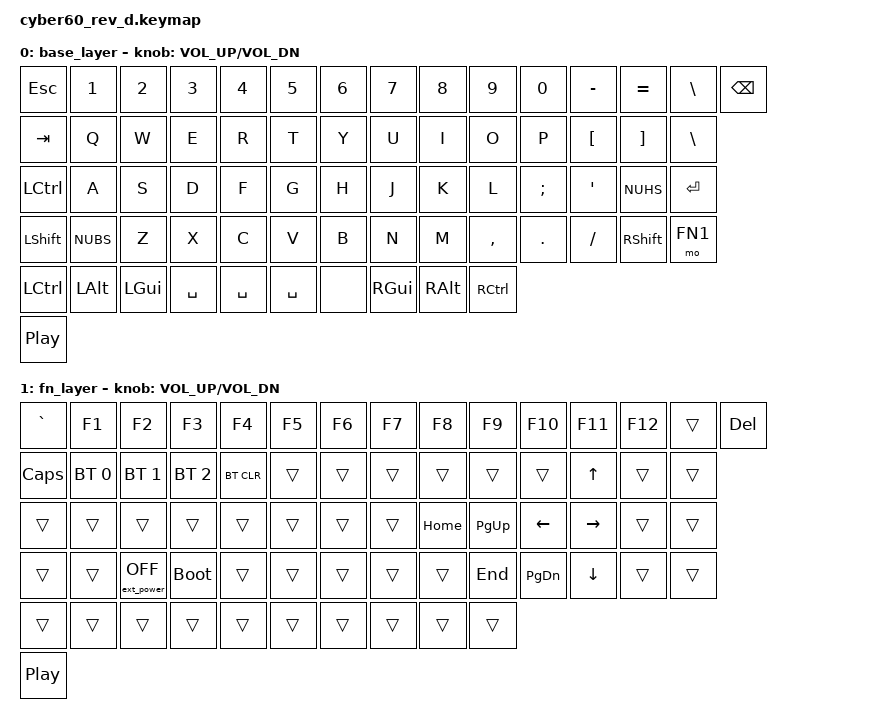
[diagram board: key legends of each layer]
#include <behaviors.dtsi>
#include <dt-bindings/zmk/bt.h>
#include <dt-bindings/zmk/ext_power.h>
#include <dt-bindings/zmk/keys.h>

#define FN1 1

/ {
    keymap {
        compatible = "zmk,keymap";

        base_layer {
            // Base layer
            // ------------------------------------------------------------------------------------------
            // | ESC |  1  |  2  |  3  |  4  |  5  |  6  |  7  |  8  |  9  |  0  |  -  |  =  |   BKSP   |
            // |  TAB |  Q  |  W  |  E  |  R  |  T  |  Y  |  U  |  I  |  O  |  P  |  [  |  ]  |   "|"   |
            // | CAPS  |  A  |  S  |  D  |  F  |  G  |  H  |  J  |  K  |  L  |  ;  |  '  |NUHS| ENTER   |
            // | SHIFT |NUBS| Z |  X  |  C  |  V  |  B  |  N  |  M  |  ,  |  .  |  /  |    Shift   | FN |
            // |  LCTL  |  LWIN  |  LALT  | SPACE  | SPACE |    SPACE   |  RALT | FN  |   RWIN  | RCTRL |
            // | Rotary | (<-- Rotary switch) ----------------------------------------------------------- 

            bindings = <
&kp ESC           &kp N1        &kp N2        &kp N3     &kp N4     &kp N5     &kp N6  &kp N7         &kp N8         &kp N9             &kp N0    &kp MINUS  &kp EQUAL  &kp BSLH  &kp BSPC
&kp TAB           &kp Q         &kp W         &kp E      &kp R      &kp T      &kp Y   &kp U          &kp I          &kp O              &kp P     &kp LBKT   &kp RBKT   &kp BSLH
&kp LEFT_CONTROL  &kp A         &kp S         &kp D      &kp F      &kp G      &kp H   &kp J          &kp K          &kp L              &kp SEMI  &kp SQT    &kp NUHS   &kp RET
&kp LSHFT         &kp NUBS      &kp Z         &kp X      &kp C      &kp V      &kp B   &kp N          &kp M          &kp COMMA          &kp DOT   &kp FSLH   &kp RSHFT  &mo FN1
&kp LEFT_CONTROL  &kp LEFT_ALT  &kp LEFT_GUI  &kp SPACE  &kp SPACE  &kp SPACE  &none   &kp RIGHT_GUI  &kp RIGHT_ALT  &kp RIGHT_CONTROL
&kp C_PP
            >;

            sensor-bindings = <&inc_dec_kp C_VOL_UP C_VOL_DN>;
        };

        fn_layer {
            // Function layer
            // ------------------------------------------------------------------------------------------
            // | RESET | F1 |  F2 |  F3 |  F4 |  F5 |  F6 |  F7 |  F8 |  F9 | F10 | F11 | F12 |TRNS | DEL |
            // |BT_CLR |TRNS | UP  | BT0 | BT1 | BT2 | BT3 | BT4 | TRNS | TRNS | TRNS | TRNS | TRNS | TRNS|
            // | BOOTL  |LEFT |DOWN |RIGHT|TRNS |TRNS |TRNS | TRNS| TRNS |TRNS| TRNS |TRNS | TRNS | TRNS  |
            // | TRNS |TRNS|TRNS|TRNS|TRNS | TRNS| TRNS | TRNS |  TRNS| TRNS | TRNS| TRNS |   TRNS   |TRNS|
            // |  TRNS | TRNS | TRNS |      TRNS      | TRNS |     TRNS     |  TRNS |  TRNS | TRNS | TRNS |
            // | Rotary | (<-- Rotary switch) ----------------------------------------------------------- 

            bindings = <
&kp GRAVE  &kp F1        &kp F2             &kp F3        &kp F4      &kp F5  &kp F6  &kp F7  &kp F8    &kp F9       &kp F10         &kp F11          &kp F12  &trans  &kp DEL
&kp CAPS   &bt BT_SEL 0  &bt BT_SEL 1       &bt BT_SEL 2  &bt BT_CLR  &trans  &trans  &trans  &trans    &trans       &trans          &kp UP_ARROW     &trans   &trans
&trans     &trans        &trans             &trans        &trans      &trans  &trans  &trans  &kp HOME  &kp PAGE_UP  &kp LEFT_ARROW  &kp RIGHT_ARROW  &trans   &trans
&trans     &trans        &ext_power EP_OFF  &bootloader   &trans      &trans  &trans  &trans  &trans    &kp END      &kp PAGE_DOWN   &kp DOWN_ARROW   &trans   &trans
&trans     &trans        &trans             &trans        &trans      &trans  &trans  &trans  &trans    &trans
&kp C_PP
            >;

            sensor-bindings = <&inc_dec_kp C_VOL_UP C_VOL_DN>;
        };
    };
};
